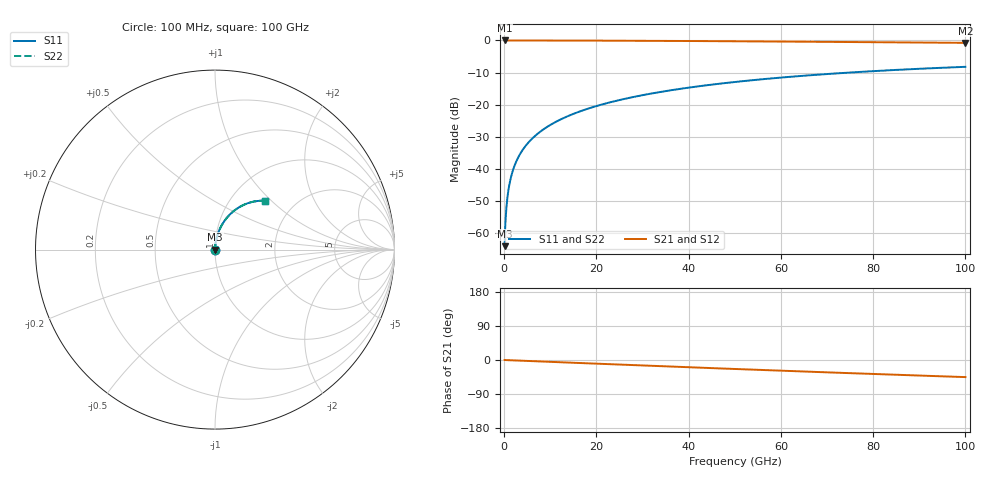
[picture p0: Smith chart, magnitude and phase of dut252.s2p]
! Touchstone file exported from HFSS 2026.1.0
!  File:  C:/ffzhzh/LocalFiles/Ansys_Project_Files/temp_train_TSV_252_1783508361_31944.aedt
!  Generated:  07:00:49 PM Jul  8, 2026
!  Design:  TSV
!  Project:  temp_train_TSV_252_1783508361_31944
! Variables:
!  h_bsmrdl = 2um
!  h_ox = 20um
!  h_rdl = 5um
!  h_sub = 73.89um
!  h_tmrdl = 5um
!  h_tsv = 73.89um
!  h_via = 3um
!  l_bsmrdl = 300um
!  l_sub = 410.14um
!  l_tmrdl = 200um
!  m_sub = 200um
!  pitch = 54.48um
!  r_tsv = 5.07um
!  s_tmrdl = 10um
!  w_bsmrdl = 18um
!  w_sub = 500um
!  w_tmrdl = 12um
!  x_tsv_center1 = 206um
!  x_tsv_center2 = 524um
!  x_tsv_center3 = 736um
!  x_tsv_center4 = 1054um
!  x_tsv_center5 = 1266um
!  x_tsv_center6 = 1584um
# GHz S MA R 50.000000
! Terminal data exported
! Port[1] = TSV1_1_T1
! Port[2] = TSV1_1_T2
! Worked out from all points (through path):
!   1000 points, 100 MHz to 100 GHz, reference 50 ohm
!   highest |S21| = 0.00 dB at 100 MHz (marker M1); lowest = -0.7 dB at 100 GHz (marker M2)
!   group delay of S21, straight-line fit = 1.26 ps
!   lowest |S11| = -64.0 dB at 100 MHz (marker M3), VSWR 1.00, Z = 50 + j0.0519 ohm
!   |S11| at or under -10 dB: start of sweep to 74.73 GHz
!   |S22| runs from -64.0 to -8.2 dB; largest |S21 - S12| = 2.1e-15
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0.1  0.0006318 55.2  0.9996 -0.1  0.9996 -0.1  0.0006318 55.2
! Gamma 0 0 0 0
! Port Impedance 50 0 50 0
0.4  0.00207 79.0  0.9996 -0.2  0.9996 -0.2  0.00207 79.0
0.7  0.003564 83.0  0.9996 -0.3  0.9996 -0.3  0.003564 83.0
0.8  0.004064 83.7  0.9996 -0.4  0.9996 -0.4  0.004064 83.7
1  0.005064 84.6  0.9995 -0.5  0.9995 -0.5  0.005064 84.6
1.3  0.006562 85.2  0.9995 -0.6  0.9995 -0.6  0.006562 85.2
1.7  0.008552 85.7  0.9994 -0.8  0.9994 -0.8  0.008552 85.7
2.3  0.01152 85.8  0.9993 -1.1  0.9993 -1.1  0.01152 85.8
3  0.01494 85.8  0.9992 -1.5  0.9992 -1.5  0.01494 85.8
3.8  0.01882 85.6  0.999 -1.9  0.999 -1.9  0.01882 85.6
4.8  0.02365 85.3  0.9988 -2.4  0.9988 -2.4  0.02365 85.3
5.9  0.02892 85.0  0.9985 -2.9  0.9985 -2.9  0.02892 85.0
8.8  0.04277 84.0  0.9978 -4.3  0.9978 -4.3  0.04277 84.0
12.4  0.05985 82.5  0.9967 -6.0  0.9967 -6.0  0.05985 82.5
16.8  0.08052 80.6  0.995 -8.1  0.995 -8.1  0.08052 80.6
24.2  0.1147 77.2  0.9913 -11.7  0.9913 -11.7  0.1147 77.2
33.4  0.156 73.1  0.9853 -16.0  0.9853 -16.0  0.156 73.1
41.2  0.1897 69.5  0.9791 -19.7  0.9791 -19.7  0.1897 69.5
50.1  0.2263 65.5  0.9711 -23.7  0.9711 -23.7  0.2263 65.5
66.7  0.2889 58.2  0.9541 -31.1  0.9541 -31.1  0.2889 58.2
83.4  0.3435 51.1  0.9356 -38.3  0.9356 -38.3  0.3435 51.1
100  0.3889 44.4  0.9175 -45.1  0.9175 -45.1  0.3889 44.4
